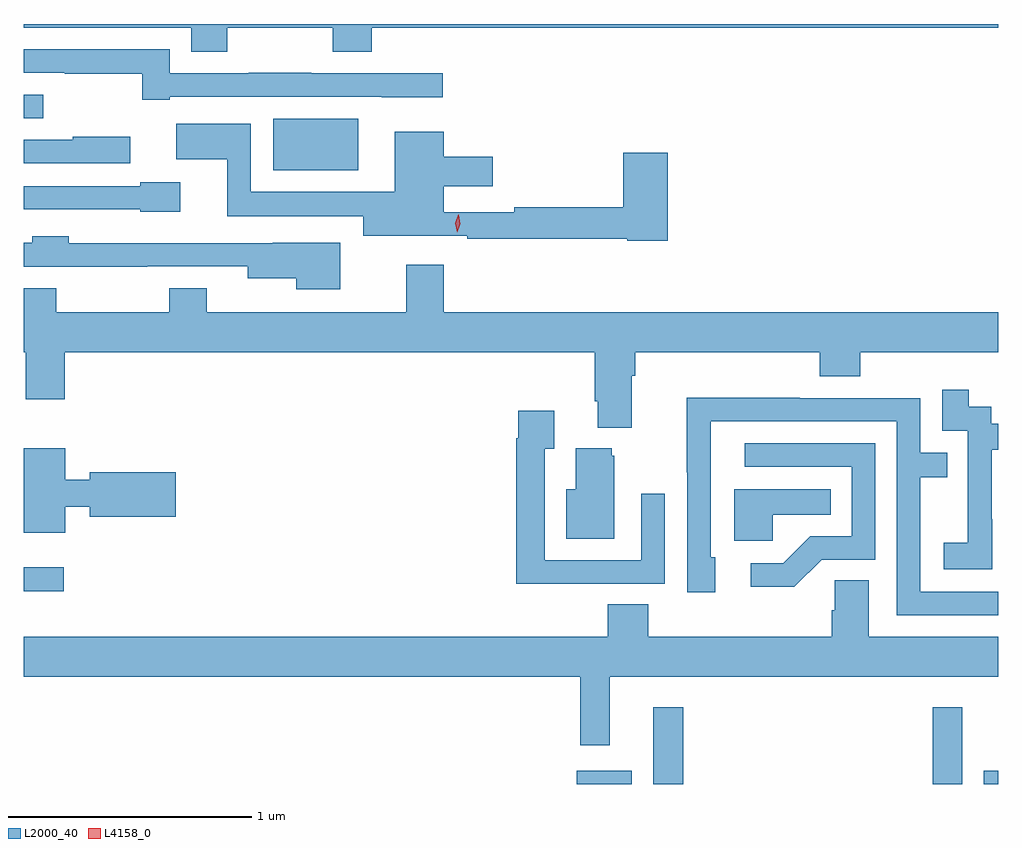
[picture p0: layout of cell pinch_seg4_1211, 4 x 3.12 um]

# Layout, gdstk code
import gdstk
lib = gdstk.Library(unit=1e-6, precision=1e-09)
def R(c, l, rs):  # rectangles x0, y0, x1, y1
    for r in rs: c.add(gdstk.rectangle(r[:2], r[2:], *l))
def P(c, l, *ps):  # polygons
    for p in ps: c.add(gdstk.Polygon(p, *l))
L2000_40 = (2000, 40)
L4158_0 = (4158, 0)

pinch_seg4_1211 = lib.new_cell('pinch_seg4_1211')
R(pinch_seg4_1211, L2000_40, [(353.174,829.68,353.401,829.735), (353.489,829.68,353.611,829.996), (354.636,829.68,354.757,829.996), (354.845,829.68,354.905,829.735), (350.905,830.472,351.07,830.569), (351.929,832.199,352.279,832.411), (350.905,832.413,350.986,832.509)])
P(pinch_seg4_1211, L2000_40, [(351.741,832.784),(352.174,832.784),(352.174,832.685),(352.334,832.685),(352.334,832.784),(354.905,832.784),(354.905,832.799),(350.905,832.799),(350.905,832.784),(351.593,832.784),(351.593,832.685),(351.741,832.685)],
  [(351.505,832.5),(352.375,832.5),(352.375,832.499),(352.624,832.499),(352.624,832.596),(352.085,832.596),(352.085,832.598),(351.829,832.598),(351.829,832.596),(351.505,832.596),(351.505,832.695),(350.905,832.695),(350.905,832.599),(351.073,832.599),(351.073,832.594),(351.391,832.594),(351.391,832.488),(351.505,832.488)],
  [(353.549,832.27),(353.366,832.27),(353.366,832.046),(352.918,832.046),(352.918,832.026),(352.63,832.026),(352.63,832.133),(352.831,832.133),(352.831,832.255),(352.63,832.255),(352.63,832.357),(352.427,832.357),(352.427,832.111),(351.837,832.111),(351.837,832.39),(351.531,832.39),(351.531,832.244),(351.74,832.244),(351.74,832.01),(352.298,832.01),(352.298,831.929),(352.726,831.929),(352.726,831.918),(353.382,831.918),(353.382,831.91),(353.549,831.91)],
  [(351.343,832.336),(351.107,832.336),(351.107,832.323),(350.905,832.323),(350.905,832.227),(351.343,832.227)],
  [(351.547,832.149),(351.384,832.149),(351.384,832.134),(350.905,832.134),(350.905,832.038),(351.384,832.038),(351.384,832.028),(351.547,832.028)],
  [(352.204,831.901),(351.928,831.901),(351.928,831.9),(351.09,831.9),(351.09,831.928),(350.94,831.928),(350.94,831.901),(350.905,831.901),(350.905,831.803),(351.413,831.803),(351.413,831.804),(351.824,831.804),(351.824,831.755),(352.024,831.755),(352.024,831.71),(352.204,831.71)],
  [(353.401,831.356),(353.414,831.356),(353.414,831.452),(354.173,831.452),(354.173,831.353),(354.338,831.353),(354.338,831.452),(354.905,831.452),(354.905,831.616),(352.628,831.616),(352.628,831.811),(352.475,831.811),(352.475,831.616),(351.657,831.616),(351.657,831.715),(351.502,831.715),(351.502,831.616),(351.039,831.616),(351.039,831.715),(350.905,831.715),(350.905,831.452),(350.914,831.452),(350.914,831.258),(351.074,831.258),(351.074,831.452),(353.249,831.452),(353.249,831.25),(353.261,831.25),(353.261,831.143),(353.401,831.143)],
  [(354.879,830.767),(354.878,830.767),(354.878,831.051),(354.905,831.051),(354.905,831.159),(354.876,831.159),(354.876,831.228),(354.784,831.228),(354.784,831.298),(354.675,831.298),(354.675,831.129),(354.78,831.129),(354.78,830.9),(354.779,830.9),(354.779,830.671),(354.681,830.671),(354.681,830.561),(354.879,830.561)],
  [(354.905,830.469),(354.585,830.469),(354.585,830.938),(354.695,830.938),(354.695,831.039),(354.585,831.039),(354.585,831.264),(354.089,831.264),(354.089,831.266),(353.626,831.266),(353.626,830.959),(353.628,830.959),(353.628,830.466),(353.743,830.466),(353.743,830.61),(353.724,830.61),(353.724,830.914),(353.725,830.914),(353.725,831.168),(354.489,831.168),(354.489,830.373),(354.905,830.373)],
  [(353.219,830.502),(353.535,830.502),(353.535,830.872),(353.439,830.872),(353.439,830.598),(353.043,830.598),(353.043,831.055),(353.083,831.055),(353.083,831.211),(352.935,831.211),(352.935,831.098),(352.927,831.098),(352.927,830.501),(353.219,830.501)],
  [(354.18,830.601),(354.399,830.601),(354.399,831.078),(353.865,831.078),(353.865,830.982),(354.303,830.982),(354.303,830.697),(354.134,830.697),(354.023,830.586),(353.889,830.586),(353.889,830.489),(354.067,830.489)],
  [(353.329,831.027),(353.318,831.027),(353.318,831.058),(353.171,831.058),(353.171,830.89),(353.132,830.89),(353.132,830.687),(353.329,830.687)],
  [(351.076,830.818),(351.176,830.818),(351.176,830.777),(351.529,830.777),(351.529,830.96),(351.176,830.96),(351.176,830.929),(351.076,830.929),(351.076,831.058),(350.905,831.058),(350.905,830.711),(351.076,830.711)],
  [(353.979,830.786),(354.218,830.786),(354.218,830.89),(353.822,830.89),(353.822,830.678),(353.979,830.678)],
  [(353.311,830.12),(354.905,830.12),(354.905,830.284),(354.373,830.284),(354.373,830.516),(354.234,830.516),(354.234,830.393),(354.221,830.393),(354.221,830.284),(353.468,830.284),(353.468,830.417),(353.303,830.417),(353.303,830.284),(350.905,830.284),(350.905,830.12),(353.19,830.12),(353.19,829.839),(353.311,829.839)])
P(pinch_seg4_1211, L4158_0, [(352.684,831.945),(352.684,831.945),(352.677,831.982),(352.689,832.017),(352.689,832.017),(352.69,832.017),(352.697,831.98),(352.684,831.945)])

lib.write_gds('pinch_seg4_1211.gds')
